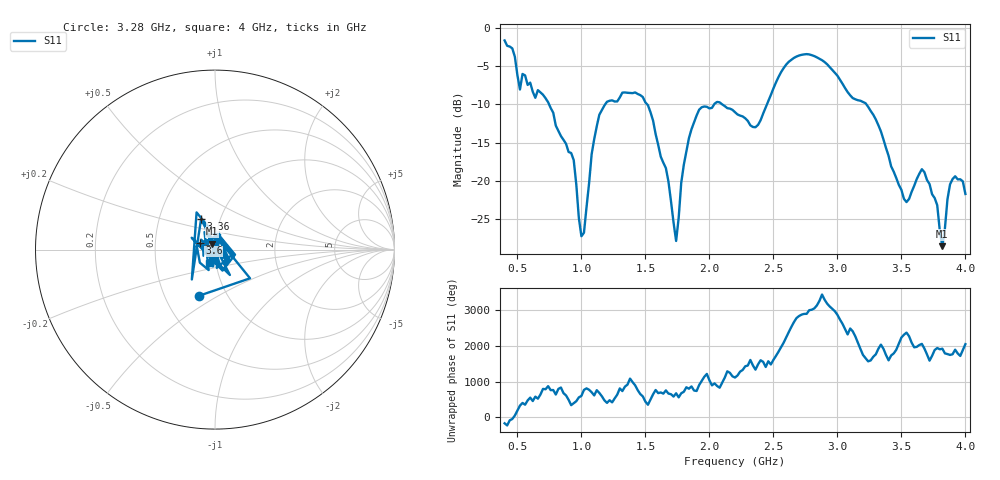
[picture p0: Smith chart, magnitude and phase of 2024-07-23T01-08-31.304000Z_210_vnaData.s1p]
!Created with skrf (http://scikit-rf.org).
# Hz S RI R 50.0
!freq ReS11 ImS11
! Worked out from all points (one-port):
!   181 points, 400 MHz to 4 GHz, reference 50 ohm
!   lowest |S11| = -28.5 dB at 3.82 GHz (marker M1), VSWR 1.08, Z = 48.1 + j3.16 ohm
!   |S11| at or under -10 dB: 747.4 MHz to 1.186 GHz (438.3 MHz wide, 45.3 % of centre); 1.514 GHz to 2.037 GHz (523.5 MHz wide, 29.5 % of centre); 3.226 GHz to end of sweep (the widest 3 of 4)
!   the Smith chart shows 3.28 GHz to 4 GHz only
!   S11 on the Smith chart (normalised r, x): 3.28 GHz: 0.74, -0.41; 3.36 GHz: 0.81, +0.28; 3.6 GHz: 0.84, +0.06; 4 GHz: 0.92, -0.14
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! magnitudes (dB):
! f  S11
! 400 MHz  -1.7
! 460 MHz  -2.7
! 520 MHz  -8.1
! 700 MHz  -8.7
! 860 MHz  -14.6
! 940 MHz  -17.3
! 1 GHz  -27.2
! 1.14 GHz  -11.4
! 1.3 GHz  -9.1
! 1.52 GHz  -10.1
! 1.66 GHz  -18.3
! 1.74 GHz  -27.8
! 1.76 GHz  -24.8
! 1.8 GHz  -17.9
! 1.92 GHz  -10.7
! 2.2 GHz  -11.0
! 2.38 GHz  -12.7
! 2.66 GHz  -3.9
! 3.1 GHz  -8.8
! 3.28 GHz  -11.3
! 3.36 GHz  -14.6
! 3.56 GHz  -22.3
! 3.6 GHz  -20.6
! 3.68 GHz  -18.9
! 3.78 GHz  -23.2
! 3.82 GHz  -28.5
! 3.88 GHz  -20.4
! 4 GHz  -21.7
